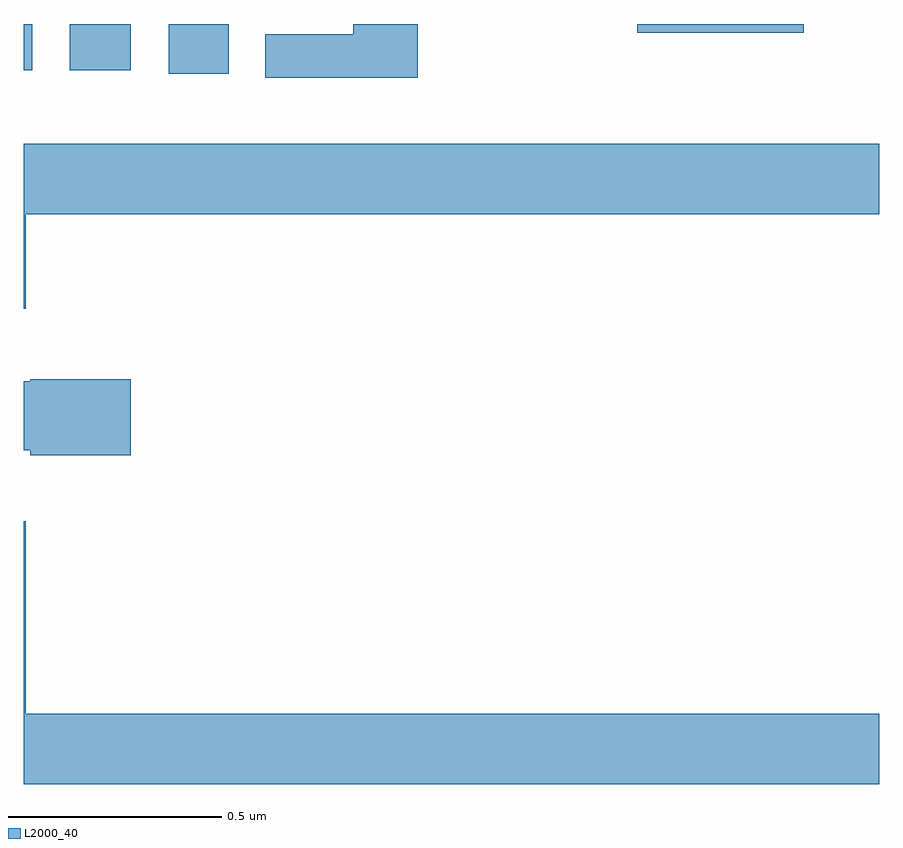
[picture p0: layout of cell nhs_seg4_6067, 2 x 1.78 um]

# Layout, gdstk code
import gdstk
lib = gdstk.Library(unit=1e-6, precision=1e-09)
def R(c, l, rs):  # rectangles x0, y0, x1, y1
    for r in rs: c.add(gdstk.rectangle(r[:2], r[2:], *l))
def P(c, l, *ps):  # polygons
    for p in ps: c.add(gdstk.Polygon(p, *l))
L2000_40 = (2000, 40)

nhs_seg4_6067 = lib.new_cell('nhs_seg4_6067')
R(nhs_seg4_6067, L2000_40, [(185.339,827.784,185.479,827.9), (185,827.792,185.02,827.9), (185.108,827.792,185.251,827.9), (186.434,827.879,186.823,827.9)])
P(nhs_seg4_6067, L2000_40, [(185.921,827.9),(185.77,827.9),(185.77,827.876),(185.565,827.876),(185.565,827.774),(185.921,827.774)],
  [(185.005,827.456),(187,827.456),(187,827.62),(185,827.62),(185,827.235),(185.005,827.235)],
  [(185.251,827.07),(185.016,827.07),(185.016,827.065),(185,827.065),(185,826.904),(185.016,826.904),(185.016,826.892),(185.251,826.892)],
  [(187,826.288),(185.005,826.288),(185.005,826.738),(185,826.738),(185,826.124),(187,826.124)])

lib.write_gds('nhs_seg4_6067.gds')
